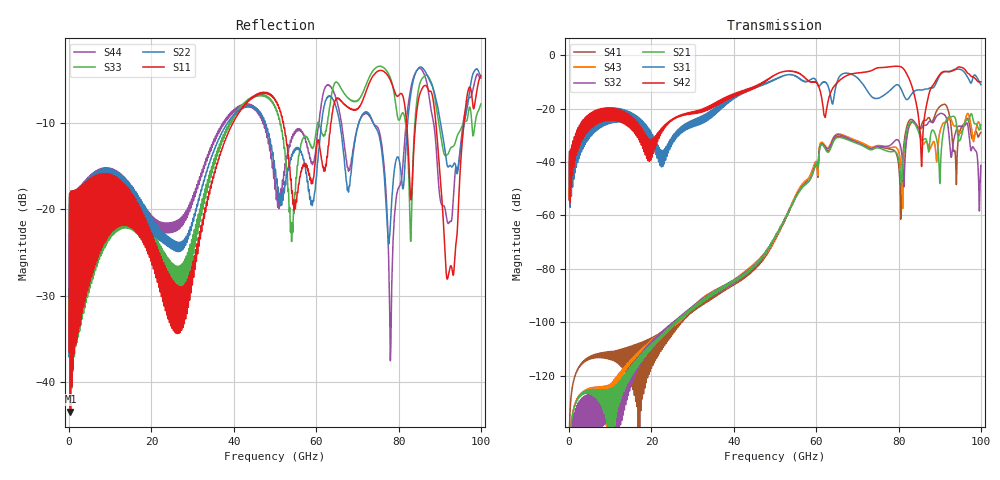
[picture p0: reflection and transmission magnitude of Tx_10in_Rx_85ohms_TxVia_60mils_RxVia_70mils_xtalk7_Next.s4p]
! Info: Touchstone file created by Circ.  Input file=Tx_10in_Rx_85ohms_TxVia_60mils_RxVia_70mils.circ
# Hz S RI R 50
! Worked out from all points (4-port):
!   10000 points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, 10 MHz to 100 GHz, reference 50 ohm
!   strongest paths, dB at 10 MHz, 25.01 GHz, 50.01 GHz, 75.01 GHz, 100 GHz:
!     S42: -54.1, -24.4, -7.4, -4.7, -10.0
!     S31: -54.2, -32.4, -9.1, -16.1, -11.1
!     S21: -167.2, -101.6, -67.8, -34.7, -26.0
!     S32: -170.3, -100.2, -67.9, -34.0, -41.3
!     S43: -154.6, -101.6, -68.0, -33.9, -27.5
!     S41: -150.4, -102.5, -68.6, -34.4, -29.0
!   lowest |S11| = -43.5 dB at 320 MHz (marker M1), VSWR 1.01, Z = 49.4 - j0.179 ohm
!   |S11| at or under -10 dB: start of sweep to 39.75 GHz; 52.07 GHz to 63.54 GHz (11.47 GHz wide, 19.8 % of centre); 89.07 GHz to 95.86 GHz (6.791 GHz wide, 7.34 % of centre) (the widest 3 of 4)
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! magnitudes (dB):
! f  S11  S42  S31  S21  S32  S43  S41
! 10 MHz  -36.5  -54.1  -54.2  -167.2  -170.3  -154.6  -150.4
! 320 MHz  -43.5  -41.4  -41.4  -141.5  -144.2  -141.1  -131.1
! 45.02 GHz  -6.8  -12.3  -12.3  -78.8  -78.5  -78.0  -79.4
! 65.19 GHz  -7.1  -10.2  -9.5  -30.9  -29.9  -29.5  -30.5
! 78.07 GHz  -5.1  -4.3  -13.0  -36.2  -33.6  -34.6  -35.2
! 85.57 GHz  -6.1  -41.5  -13.1  -31.8  -27.4  -31.1  -26.3
! 100 GHz  -4.4  -10.0  -11.1  -26.0  -41.3  -27.5  -29.0
